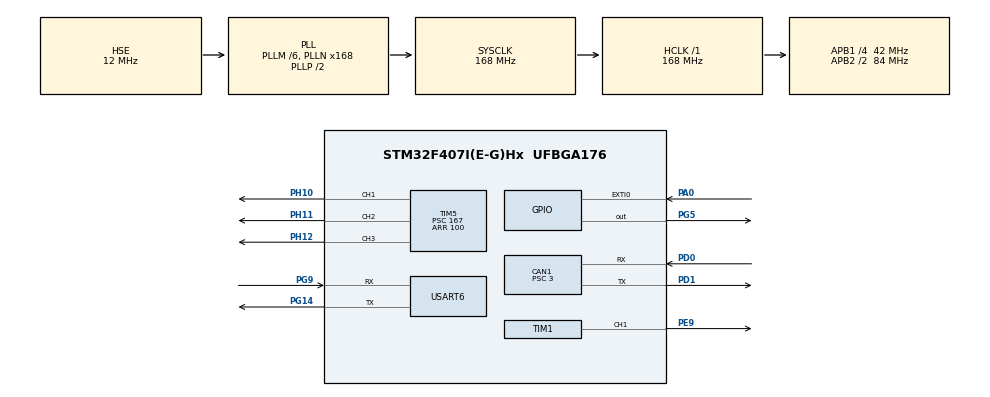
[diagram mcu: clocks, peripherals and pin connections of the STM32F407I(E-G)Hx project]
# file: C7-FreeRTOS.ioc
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CAN1.BS1=CAN_BS1_10TQ
CAN1.BS2=CAN_BS2_3TQ
CAN1.CalculateBaudRate=1000000
CAN1.CalculateTimeBit=1000
CAN1.CalculateTimeQuantum=71.42857142857143
CAN1.Prescaler=3
Dma.Request0=USART6_RX
Dma.Request1=USART6_TX
Dma.USART6_RX.0.Direction=DMA_PERIPH_TO_MEMORY
Dma.USART6_RX.0.FIFOMode=DMA_FIFOMODE_DISABLE
Dma.USART6_RX.0.Instance=DMA2_Stream1
Dma.USART6_RX.0.MemDataAlignment=DMA_MDATAALIGN_BYTE
Dma.USART6_RX.0.MemInc=DMA_MINC_ENABLE
Dma.USART6_RX.0.Mode=DMA_NORMAL
Dma.USART6_RX.0.PeriphDataAlignment=DMA_PDATAALIGN_BYTE
Dma.USART6_RX.0.PeriphInc=DMA_PINC_DISABLE
Dma.USART6_RX.0.Priority=DMA_PRIORITY_LOW
Dma.USART6_TX.1.Direction=DMA_MEMORY_TO_PERIPH
Dma.USART6_TX.1.FIFOMode=DMA_FIFOMODE_DISABLE
Dma.USART6_TX.1.Instance=DMA2_Stream6
Dma.USART6_TX.1.MemDataAlignment=DMA_MDATAALIGN_BYTE
Dma.USART6_TX.1.MemInc=DMA_MINC_ENABLE
Dma.USART6_TX.1.Mode=DMA_NORMAL
Dma.USART6_TX.1.PeriphDataAlignment=DMA_PDATAALIGN_BYTE
Dma.USART6_TX.1.PeriphInc=DMA_PINC_DISABLE
Dma.USART6_TX.1.Priority=DMA_PRIORITY_LOW
FREERTOS.Queues01=CmdQueue,32,uint8_t,0,Dynamic,NULL,NULL
FREERTOS.Tasks01=defaultTask,24,128,StartDefaultTask,As external,NULL,Dynamic,NULL,NULL;CmdTask,31,128,StartCmdTask,As external,NULL,Dynamic,NULL,NULL;uartTask,8,128,StartUartTask,As external,NULL,Dynamic,NULL,NULL;PWMTask,8,128,StartTaskPWM,As external,NULL,Dynamic,NULL,NULL;BTNdetectTask,8,128,StartTaskBTN,As external,NULL,Dynamic,NULL,NULL
FREERTOS.configGENERATE_RUN_TIME_STATS=1
FREERTOS.configRECORD_STACK_HIGH_ADDRESS=1
Mcu.Family=STM32F4
Mcu.Name=STM32F407I(E-G)Hx
Mcu.Package=UFBGA176
NVIC.CAN1_RX0_IRQn=true\:5\:0\:false\:false\:true\:true\:true\:true\:true
NVIC.CAN1_RX1_IRQn=true\:5\:0\:false\:false\:true\:true\:true\:true\:true
NVIC.DMA2_Stream1_IRQn=true\:5\:0\:false\:false\:true\:true\:false\:true\:true
NVIC.DMA2_Stream6_IRQn=true\:5\:0\:false\:false\:true\:true\:false\:true\:true
NVIC.EXTI0_IRQn=true\:5\:0\:false\:false\:true\:false\:true\:true\:true
NVIC.PriorityGroup=NVIC_PRIORITYGROUP_4
NVIC.TIM4_IRQn=true\:15\:0\:false\:false\:true\:false\:false\:true\:true
NVIC.TimeBase=TIM4_IRQn
NVIC.TimeBaseIP=TIM4
NVIC.USART6_IRQn=true\:5\:0\:false\:false\:true\:true\:true\:true\:true
PA0-WKUP.GPIO_ModeDefaultEXTI=GPIO_MODE_IT_RISING_FALLING
PA0-WKUP.Signal=GPXTI0
PA13.Mode=Serial_Wire
PA13.Signal=SYS_JTMS-SWDIO
PA14.Mode=Serial_Wire
PA14.Signal=SYS_JTCK-SWCLK
PA9.Signal=USART1_TX
PD0.Mode=CAN_Activate
PD0.Signal=CAN1_RX
PD1.Mode=CAN_Activate
PD1.Signal=CAN1_TX
PE9.Signal=S_TIM1_CH1
PG14.Mode=Asynchronous
PG14.Signal=USART6_TX
PG5.Signal=GPIO_Output
PG9.Mode=Asynchronous
PG9.Signal=USART6_RX
PH0-OSC_IN.Mode=HSE-External-Oscillator
PH0-OSC_IN.Signal=RCC_OSC_IN
PH1-OSC_OUT.Mode=HSE-External-Oscillator
PH1-OSC_OUT.Signal=RCC_OSC_OUT
PH10.Signal=S_TIM5_CH1
PH11.Signal=S_TIM5_CH2
PH12.Signal=S_TIM5_CH3
ProjectManager.HeapSize=0x200
ProjectManager.StackSize=0x400
ProjectManager.TargetToolchain=STM32CubeIDE
RCC.48MHZClocksFreq_Value=84000000
RCC.AHBFreq_Value=168000000
RCC.APB1CLKDivider=RCC_HCLK_DIV4
RCC.APB1Freq_Value=42000000
RCC.APB1TimFreq_Value=84000000
RCC.APB2CLKDivider=RCC_HCLK_DIV2
RCC.APB2Freq_Value=84000000
RCC.APB2TimFreq_Value=168000000
RCC.CortexFreq_Value=168000000
RCC.HCLKFreq_Value=168000000
RCC.HSE_VALUE=12000000
RCC.HSI_VALUE=16000000
RCC.LSE_VALUE=32768
RCC.PLLM=6
RCC.PLLN=168
RCC.PLLSourceVirtual=RCC_PLLSOURCE_HSE
RCC.SYSCLKFreq_VALUE=168000000
RCC.SYSCLKSource=RCC_SYSCLKSOURCE_PLLCLK
RCC.VCOOutputFreq_Value=336000000
SH.S_TIM1_CH1.0=TIM1_CH1,PWM Generation1 CH1
SH.S_TIM5_CH1.0=TIM5_CH1,PWM Generation1 CH1
SH.S_TIM5_CH2.0=TIM5_CH2,PWM Generation2 CH2
SH.S_TIM5_CH3.0=TIM5_CH3,PWM Generation3 CH3
TIM1.Channel-PWM\ Generation1\ CH1=TIM_CHANNEL_1
TIM1.Period=20000-1
TIM1.Prescaler=167
TIM5.Channel-PWM\ Generation1\ CH1=TIM_CHANNEL_1
TIM5.Channel-PWM\ Generation2\ CH2=TIM_CHANNEL_2
TIM5.Channel-PWM\ Generation3\ CH3=TIM_CHANNEL_3
TIM5.Period=100
TIM5.Prescaler=167
USART6.VirtualMode=VM_ASYNC
VP_FREERTOS_VS_CMSIS_V2.Mode=CMSIS_V2
VP_SYS_VS_tim4.Mode=TIM4
VP_TIM1_VS_ClockSourceINT.Mode=Internal
VP_TIM5_VS_ClockSourceINT.Mode=Internal
board=custom

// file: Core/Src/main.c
/* USER CODE BEGIN Header */
/**
  ******************************************************************************
  * @file           : main.c
  * @brief          : Main program body
  ******************************************************************************
  * @attention
  *
  * Copyright (c) 2026 STMicroelectronics.
  * All rights reserved.
  *
  * This software is licensed under terms that can be found in the LICENSE file
  * in the root directory of this software component.
  * If no LICENSE file comes with this software, it is provided AS-IS.
  *
  ******************************************************************************
  */
/* USER CODE END Header */
#include "main.h"
#include "cmsis_os.h"
#include "can.h"
#include "dma.h"
#include "tim.h"
#include "usart.h"
#include "gpio.h"

/* USER CODE BEGIN Includes */
#include "../BSP/can_motor/can_motor.h"
#include "../BSP/pid/pid.h"
/* USER CODE END Includes */

/* USER CODE BEGIN PV */
/* 用 g_ 前缀放全局变量：CubeMonitor 里直接搜名字就能抓到 */
PID_t  g_speed_pid;                 /* 速度环 PID 实例 */
float  g_target_rpm = 100.0f;       /* 目标转速，改这个就能改速度 */
float  g_actual_rpm = 0.0f;         /* 实际转速（来自反馈帧） */
float  g_out        = 0.0f;         /* PID 输出（控制量） */
float  g_loop_hz    = 0.0f;         /* 实测控制循环频率，正常应该是 1000 左右 */
uint8_t g_all_online = 0;           /* 所有电机是否在线（供其他任务读） */

/* 启动开关，定义在 BSP/tasks.c：收到 "motor+NNN" 后置 1。
   控制循环要先看它，所以这里要有声明。 */
extern volatile int ifStartMain;

/* 两颗 LED 都挂在 TIM5 上做 PWM（ARR = 100，所以占空比就是 0~100）：
 *   绿灯 PH11 → TIM5_CH2   红灯 PH12 → TIM5_CH3
 * 用 PWM 的好处：亮度可调、能做呼吸，而且这两个脚本来就是复用模式，
 * 用 HAL_GPIO_WritePin 写 ODR 是无效的。 */
#define LED_G_PWM_TIM       htim5
#define LED_G_PWM_CHANNEL   TIM_CHANNEL_2     /* PH11 */
#define LED_R_PWM_TIM       htim5
#define LED_R_PWM_CHANNEL   TIM_CHANNEL_3     /* PH12 */

#define LED_G_ON_DUTY       100               /* 绿灯亮度 0~100（TIM5 的 ARR = 100），刺眼就调小 */
/* USER CODE END PV */

void SystemClock_Config(void);
void MX_FREERTOS_Init(void);

/* USER CODE BEGIN 0 */

/* ------------------------------------------------------------------
 * APP_MODE_OPEN_LOOP = 1  开环：不看反馈，给固定控制量（用来单独验证电机链路）
 * APP_MODE_OPEN_LOOP = 0  闭环：速度环 PID，稳在 g_target_rpm
 * 调参前建议先用开环跑一次，确认"给 9400 能转到 100rpm 左右"再切回来。
 * ------------------------------------------------------------------ */
#define APP_MODE_OPEN_LOOP   0
#define OPEN_LOOP_OUT        9400     /* 开环控制量，空载约 7.5V / 100rpm */

static void App_OfflineIndicate(uint8_t all_online)
{
  /* 绿灯（PH11 / TIM5_CH2）：在线常亮，离线熄灭。
     红灯的呼吸由 PWMTask 负责，这里不碰。 */
  __HAL_TIM_SET_COMPARE(&LED_G_PWM_TIM, LED_G_PWM_CHANNEL,
                        all_online ? LED_G_ON_DUTY : 0);
}

/* 1kHz 控制循环：采样 → 算 PID → 发指令 → 刷新在线状态
 * 注意：节拍由调用者控制（defaultTask 用 osDelayUntil 每 1ms 调一次），
 *       这里不再自己判 HAL_GetTick，否则两层计时会互相打架。 */
void App_ControlLoop(void)
{
  static uint32_t cnt = 0, win_start = 0;
  uint32_t now = HAL_GetTick();
  const Motor_Data_t *d;

  /* ---- 诊断：统计真实的控制频率（CubeMonitor 里看 g_loop_hz） ---- */
  cnt++;
  if ((uint32_t)(now - win_start) >= 1000u) {
    g_loop_hz  = (float)cnt * 1000.0f / (float)(uint32_t)(now - win_start);
    cnt        = 0;
    win_start  = now;
  }

  /* ① 在线判定 + 指示灯：每拍都做，不受 ifStartMain 影响。
        Motor_Update() 只是拿 last_tick 和 now 比一下，不发帧、不碰电机，
        放到下面那层 if 之后的话，没收到命令时就永远判离线，红灯一直亮。 */
  g_all_online = Motor_Update();      /* 软件看门狗：刷新在线状态 */
  App_OfflineIndicate(g_all_online);

  d = Motor_Get(1);
  if (d == 0) {
    return;
  }
  g_actual_rpm = (float)d->speed;

  /* ② 还没收到 "motor+NNN"：只监视、不输出，电机保持静止 */
  if (!ifStartMain) {
    return;
  }

  /* ③ 收到命令后才开始闭环输出 */
#if APP_MODE_OPEN_LOOP
  g_out = (float)OPEN_LOOP_OUT;
#else
  if (!Motor_IsOnline(1)) {
    PID_Reset(&g_speed_pid);      /* 掉线：清账本，避免恢复瞬间冲击 */
    g_out = 0.0f;
  } else {
    /* 一行搞定：喂目标转速和实际转速，返回本拍控制量 */
    g_out = PID_Calc(&g_speed_pid, g_target_rpm, g_actual_rpm);
  }
#endif

  Motor_SetOutput(1, (int16_t)g_out);
  Motor_Flush();
}

/* USER CODE END 0 */

int main(void)
{

  /* MCU Configuration--------------------------------------------------------*/

  /* Reset of all peripherals, Initializes the Flash interface and the Systick. */
  HAL_Init();

  /* Configure the system clock */
  SystemClock_Config();

  /* Initialize all configured peripherals */
  MX_GPIO_Init();
  MX_DMA_Init();
  MX_CAN1_Init();
  MX_TIM5_Init();
  MX_TIM1_Init();
  MX_USART6_UART_Init();
  /* USER CODE BEGIN 2 */

  /* ① 初始化 CAN1：配过滤器 + 启动外设 + 打开 RX0 接收中断 */
  Motor_Init(&hcan1);

  /* ② 注册电机：这里的 ID 必须和电机实际 ID 一致（6020 用拨码/上位机设置，默认 1） */
  if (!Motor_Attach(1, MOTOR_TYPE_GM6020))
  {
    Error_Handler();          /* ID 非法或槽位冲突，停在这里比"电机不动"好查 */
  }

  /* ③ 初始化速度环 PID：先给一组能转的起点，具体参数自己调 */
  PID_Init(&g_speed_pid, 40.0f, 500.0f, 0.0f, speed);

  /* 如果电机接在 CAN2 上，把上面两句换成：
       Motor_Init(&hcan2);
       Motor_Attach(1, MOTOR_TYPE_GM6020);
     并确认 CubeMX 里 CAN2 的 RX0 中断也打开了 */

  /* ④ 启动 PWM 通道：不启动的话 SET_COMPARE 只是改了个数，引脚上没有任何波形 */
  __HAL_TIM_SET_COMPARE(&LED_G_PWM_TIM, LED_G_PWM_CHANNEL, 0);   /* 绿灯先灭 */
  __HAL_TIM_SET_COMPARE(&LED_R_PWM_TIM, LED_R_PWM_CHANNEL, 0);   /* 红灯先灭 */
  HAL_TIM_PWM_Start(&LED_G_PWM_TIM, LED_G_PWM_CHANNEL);          /* 绿灯，PH11 / TIM5_CH2 */
  HAL_TIM_PWM_Start(&LED_R_PWM_TIM, LED_R_PWM_CHANNEL);          /* 红灯，PH12 / TIM5_CH3 */

  __HAL_TIM_SET_COMPARE(&htim1, TIM_CHANNEL_1, 500);  /* 舵机上电回 0°（0.5ms） */
  HAL_TIM_PWM_Start(&htim1, TIM_CHANNEL_1);       /* 舵机，PE9 / TIM1_CH1 */
  /* USER CODE END 2 */

  /* Init scheduler */
  osKernelInitialize();  /* Call init function for freertos objects (in cmsis_os2.c) */
  MX_FREERTOS_Init();

  /* Start scheduler */
  osKernelStart();

  /* We should never get here as control is now taken by the scheduler */

  /* Infinite loop */
  while (1)
  {

  }
}

void SystemClock_Config(void)
{
  RCC_OscInitTypeDef RCC_OscInitStruct = {0};
  RCC_ClkInitTypeDef RCC_ClkInitStruct = {0};

  /** Configure the main internal regulator output voltage
  */
  __HAL_RCC_PWR_CLK_ENABLE();
  __HAL_PWR_VOLTAGESCALING_CONFIG(PWR_REGULATOR_VOLTAGE_SCALE1);

  /** Initializes the RCC Oscillators according to the specified parameters
  * in the RCC_OscInitTypeDef structure.
  */
  RCC_OscInitStruct.OscillatorType = RCC_OSCILLATORTYPE_HSE;
  RCC_OscInitStruct.HSEState = RCC_HSE_ON;
  RCC_OscInitStruct.PLL.PLLState = RCC_PLL_ON;
  RCC_OscInitStruct.PLL.PLLSource = RCC_PLLSOURCE_HSE;
  RCC_OscInitStruct.PLL.PLLM = 6;
  RCC_OscInitStruct.PLL.PLLN = 168;
  RCC_OscInitStruct.PLL.PLLP = RCC_PLLP_DIV2;
  RCC_OscInitStruct.PLL.PLLQ = 4;
  if (HAL_RCC_OscConfig(&RCC_OscInitStruct) != HAL_OK)
  {
    Error_Handler();
  }

  /** Initializes the CPU, AHB and APB buses clocks
  */
  RCC_ClkInitStruct.ClockType = RCC_CLOCKTYPE_HCLK|RCC_CLOCKTYPE_SYSCLK
                              |RCC_CLOCKTYPE_PCLK1|RCC_CLOCKTYPE_PCLK2;
  RCC_ClkInitStruct.SYSCLKSource = RCC_SYSCLKSOURCE_PLLCLK;
  RCC_ClkInitStruct.AHBCLKDivider = RCC_SYSCLK_DIV1;
  RCC_ClkInitStruct.APB1CLKDivider = RCC_HCLK_DIV4;
  RCC_ClkInitStruct.APB2CLKDivider = RCC_HCLK_DIV2;

  if (HAL_RCC_ClockConfig(&RCC_ClkInitStruct, FLASH_LATENCY_5) != HAL_OK)
  {
    Error_Handler();
  }
}

void HAL_TIM_PeriodElapsedCallback(TIM_HandleTypeDef *htim)
{
  if (htim->Instance == TIM4)
  {
    HAL_IncTick();
  }
}

void Error_Handler(void)
{
  __disable_irq();
  while (1)
  {
  }
}

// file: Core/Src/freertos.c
/* USER CODE BEGIN Header */
/**
  ******************************************************************************
  * File Name          : freertos.c
  * Description        : Code for freertos applications
  ******************************************************************************
  * @attention
  *
  * Copyright (c) 2026 STMicroelectronics.
  * All rights reserved.
  *
  * This software is licensed under terms that can be found in the LICENSE file
  * in the root directory of this software component.
  * If no LICENSE file comes with this software, it is provided AS-IS.
  *
  ******************************************************************************
  */
/* USER CODE END Header */

#include "FreeRTOS.h"
#include "task.h"
#include "main.h"
#include "cmsis_os.h"

/* USER CODE BEGIN Includes */
#include <stdio.h>
#include <stdlib.h>
#include <string.h>

#include "tim.h"
/* USER CODE END Includes */

/* USER CODE BEGIN Variables */
    /* DMA 收数据的落地缓冲区 */
/* USER CODE END Variables */
/* Definitions for defaultTask */
osThreadId_t defaultTaskHandle;
const osThreadAttr_t defaultTask_attributes = {
  .name = "defaultTask",
  .stack_size = 128 * 4,
  .priority = (osPriority_t) osPriorityNormal,
};
/* Definitions for CmdTask */
osThreadId_t CmdTaskHandle;
const osThreadAttr_t CmdTask_attributes = {
  .name = "CmdTask",
  .stack_size = 128 * 4,
  .priority = (osPriority_t) osPriorityNormal7,
};
/* Definitions for uartTask */
osThreadId_t uartTaskHandle;
const osThreadAttr_t uartTask_attributes = {
  .name = "uartTask",
  .stack_size = 256 * 4,
  .priority = (osPriority_t) osPriorityLow,
};
/* Definitions for PWMTask */
osThreadId_t PWMTaskHandle;
const osThreadAttr_t PWMTask_attributes = {
  .name = "PWMTask",
  .stack_size = 128 * 4,
  .priority = (osPriority_t) osPriorityLow,
};
/* Definitions for BTNdetectTask */
osThreadId_t BTNdetectTaskHandle;
const osThreadAttr_t BTNdetectTask_attributes = {
  .name = "BTNdetectTask",
  .stack_size = 128 * 4,
  .priority = (osPriority_t) osPriorityLow,
};
/* Definitions for CmdQueue */
osMessageQueueId_t CmdQueueHandle;
const osMessageQueueAttr_t CmdQueue_attributes = {
  .name = "CmdQueue"
};

void StartDefaultTask(void *argument);
void StartCmdTask(void *argument);
void StartUartTask(void *argument);
void StartTaskPWM(void *argument);
void StartTaskBTN(void *argument);

void MX_FREERTOS_Init(void); /* (MISRA C 2004 rule 8.1) */

/* Hook prototypes */
void configureTimerForRunTimeStats(void);
unsigned long getRunTimeCounterValue(void);

/* USER CODE BEGIN 1 */
/* Functions needed when configGENERATE_RUN_TIME_STATS is on */
__weak void configureTimerForRunTimeStats(void)
{

}

__weak unsigned long getRunTimeCounterValue(void)
{
return 0;
}

/* USER CODE END 1 */

void MX_FREERTOS_Init(void) {

  /* Create the queue(s) */
  /* creation of CmdQueue */
  CmdQueueHandle = osMessageQueueNew (32, sizeof(uint8_t), &CmdQueue_attributes);

  /* Create the thread(s) */
  /* creation of defaultTask */
  defaultTaskHandle = osThreadNew(StartDefaultTask, NULL, &defaultTask_attributes);

  /* creation of CmdTask */
  CmdTaskHandle = osThreadNew(StartCmdTask, NULL, &CmdTask_attributes);

  /* creation of uartTask */
  uartTaskHandle = osThreadNew(StartUartTask, NULL, &uartTask_attributes);

  /* creation of PWMTask */
  PWMTaskHandle = osThreadNew(StartTaskPWM, NULL, &PWMTask_attributes);

  /* creation of BTNdetectTask */
  BTNdetectTaskHandle = osThreadNew(StartTaskBTN, NULL, &BTNdetectTask_attributes);

}

/* USER CODE END Application */
